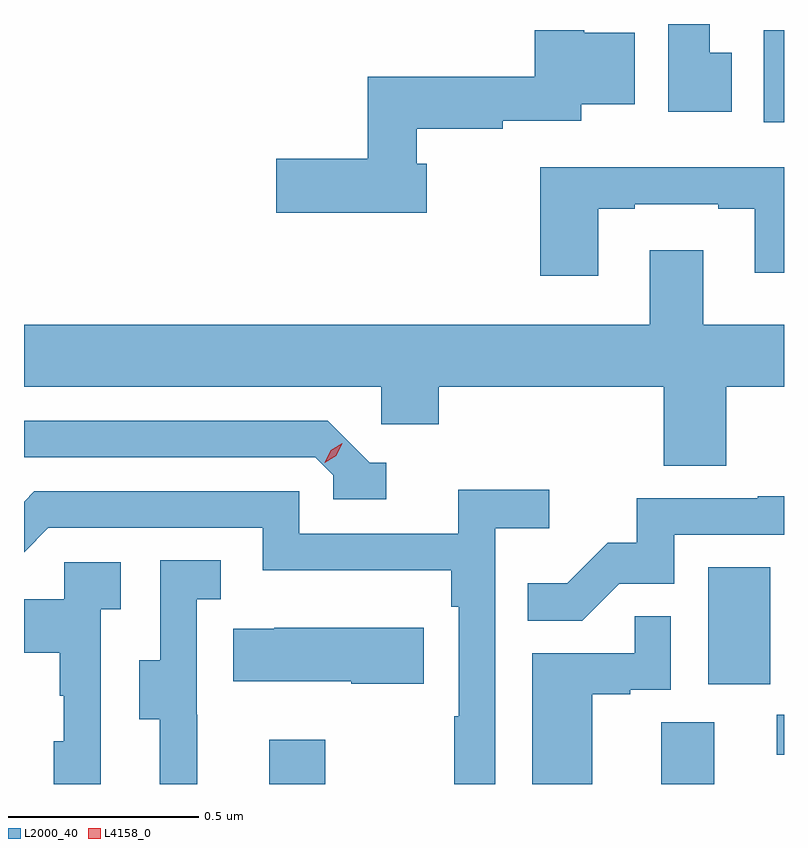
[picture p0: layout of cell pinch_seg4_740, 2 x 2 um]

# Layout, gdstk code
import gdstk
lib = gdstk.Library(unit=1e-6, precision=1e-09)
def R(c, l, rs):  # rectangles x0, y0, x1, y1
    for r in rs: c.add(gdstk.rectangle(r[:2], r[2:], *l))
def P(c, l, *ps):  # polygons
    for p in ps: c.add(gdstk.Polygon(p, *l))
L2000_40 = (2000, 40)
L4158_0 = (4158, 0)

pinch_seg4_740 = lib.new_cell('pinch_seg4_740')
R(pinch_seg4_740, L2000_40, [(843.305,827.743,843.453,827.86), (844.337,827.743,844.477,827.906), (844.641,827.82,844.66,827.925), (844.46,828.006,844.624,828.313), (844.607,829.484,844.66,829.726)])
P(pinch_seg4_740, L2000_40, [(844.522,829.668),(844.465,829.668),(844.465,829.743),(844.355,829.743),(844.355,829.512),(844.522,829.512)],
  [(843.72,829.375),(843.694,829.375),(843.694,829.468),(843.92,829.468),(843.92,829.488),(844.126,829.488),(844.126,829.532),(844.267,829.532),(844.267,829.72),(844.134,829.72),(844.134,829.726),(844.004,829.726),(844.004,829.604),(843.565,829.604),(843.565,829.388),(843.324,829.388),(843.324,829.246),(843.72,829.246)],
  [(844.171,829.257),(844.267,829.257),(844.267,829.269),(844.487,829.269),(844.487,829.257),(844.583,829.257),(844.583,829.088),(844.66,829.088),(844.66,829.366),(844.019,829.366),(844.019,829.08),(844.171,829.08)],
  [(844.508,828.788),(844.66,828.788),(844.66,828.952),(844.447,828.952),(844.447,829.147),(844.307,829.147),(844.307,828.952),(842.66,828.952),(842.66,828.788),(843.6,828.788),(843.6,828.69),(843.752,828.69),(843.752,828.788),(844.343,828.788),(844.343,828.58),(844.508,828.58)],
  [(843.613,828.588),(843.57,828.588),(843.459,828.699),(842.66,828.699),(842.66,828.603),(843.426,828.603),(843.474,828.555),(843.474,828.492),(843.613,828.492)],
  [(843.9,828.416),(844.042,828.416),(844.042,828.518),(843.803,828.518),(843.803,828.402),(843.384,828.402),(843.384,828.513),(842.687,828.513),(842.66,828.486),(842.66,828.353),(842.724,828.417),(843.288,828.417),(843.288,828.305),(843.784,828.305),(843.784,828.209),(843.804,828.209),(843.804,827.921),(843.792,827.921),(843.792,827.743),(843.9,827.743)],
  [(844.227,828.27),(844.371,828.27),(844.371,828.399),(844.66,828.399),(844.66,828.5),(844.591,828.5),(844.591,828.495),(844.273,828.495),(844.273,828.378),(844.196,828.378),(844.089,828.271),(843.985,828.271),(843.985,828.172),(844.129,828.172)],
  [(843.116,827.925),(843.114,827.925),(843.114,828.229),(843.178,828.229),(843.178,828.332),(843.018,828.332),(843.018,828.069),(842.963,828.069),(842.963,827.914),(843.017,827.914),(843.017,827.743),(843.116,827.743)],
  [(842.862,828.203),(842.914,828.203),(842.914,828.327),(842.766,828.327),(842.766,828.229),(842.66,828.229),(842.66,828.089),(842.754,828.089),(842.754,827.975),(842.764,827.975),(842.764,827.856),(842.738,827.856),(842.738,827.743),(842.862,827.743)],
  [(844.156,827.979),(844.256,827.979),(844.256,827.991),(844.362,827.991),(844.362,828.185),(844.267,828.185),(844.267,828.087),(843.998,828.087),(843.998,827.743),(844.156,827.743)],
  [(843.712,828.154),(843.319,828.154),(843.319,828.151),(843.211,828.151),(843.211,828.014),(843.521,828.014),(843.521,828.007),(843.712,828.007)])
P(pinch_seg4_740, L4158_0, [(843.451,828.588),(843.451,828.588),(843.467,828.621),(843.498,828.64),(843.498,828.64),(843.498,828.64),(843.482,828.607),(843.451,828.588)])

lib.write_gds('pinch_seg4_740.gds')
